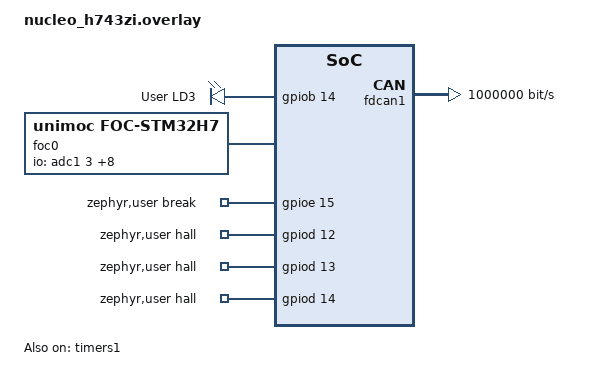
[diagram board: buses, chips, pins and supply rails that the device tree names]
/*
 * SPDX-License-Identifier: GPL-3.0-or-later
 *
 * UNIMOC on a NUCLEO-H743ZI (first revision, STM32H743ZI silicon rev. Y):
 * bring-up of the STM32H7 platform (hardware/zephyr_stm32h7) before the
 * 4850 logic board exists (docs/drive4850_h7_plan.md). Without a power
 * stage; every pin below is on the ST morpho or Zio connectors.
 * Not run on the board yet.
 *
 * Pins differ from the 4850 proposal where the Nucleo uses them: the
 * Ethernet PHY (PA1, PA2, PA7, PB13, PC1, PC4, PC5), the LEDs (LD1 PB0, LD2 PE1,
 * LD3 PB14) and the ST-LINK UART (PD8, PD9).
 */

/ {
	/* Status LEDs of hardware/status_leds.hpp on LD1 (green), LD2 (yellow) and LD3 (red). */
	aliases {
		unimoc-led-run = &green_led;
		unimoc-led-pwm = &yellow_led;
		unimoc-led-error = &red_led;
	};

	/* LD3 (PB14) is a plain GPIO output here; the board file wires it to TIM12 PWM. */
	red_leds {
		compatible = "gpio-leds";
		red_led: led_red {
			gpios = <&gpiob 14 GPIO_ACTIVE_HIGH>;
			label = "User LD3";
		};
	};

	pwmleds {
		status = "disabled";
	};

	/*
	 * Power stage: TIM1, centre-aligned PWM on CH1..CH3 + CH1N..CH3N
	 * (PE8..PE13, all on port E as on the 4850 proposal). TRGO2 (rising
	 * OC4REF / OC6REF) starts the injected sequences of ADC1..ADC3 at the
	 * same instant. The end of the ADC1 sequence is the sample interrupt
	 * (zero latency), the TIM1 update vector the observer interrupt.
	 */
	foc0: foc-power-stage {
		compatible = "unimoc,foc-stm32h7";
		status = "okay";

		timer = <&timers1>;

		/* 4850 power board (BSC040N08, LM5109B): 1 us as in the legacy firmware. */
		dead-time-ns = <1000>;

		pinctrl-0 = <&tim1_ch1_pe9 &tim1_ch1n_pe8
			     &tim1_ch2_pe11 &tim1_ch2n_pe10
			     &tim1_ch3_pe13 &tim1_ch3n_pe12
			     &tim1_bkin_pe15
			     &analog_pa6 &analog_pf11 &analog_pf12
			     &analog_pb1 &analog_pf13 &analog_pf14
			     &analog_pc2_c &analog_pc3_c &analog_pf10>;
		pinctrl-names = "default";

		/* Three injected conversions per ADC, the phase current first. */
		io-channels = <&adc1 3>, <&adc1 2>, <&adc1 6>,   /* PA6 ia, PF11 va, PF12 bridge temp */
			      <&adc2 5>, <&adc2 2>, <&adc2 6>,   /* PB1 ib, PF13 vb, PF14 motor temp  */
			      <&adc3 0>, <&adc3 1>, <&adc3 6>;   /* PC2_C ic, PC3_C vdc, PF10 vc      */
		io-channel-names = "ia", "va", "bridge-temperature",
				   "ib", "vb", "motor-temperature",
				   "ic", "vdc", "vc";

		/*
		 * ADC clock cycles at 30 MHz (pll2_p 120 MHz / 4). Currents from
		 * INA240 outputs (low impedance): short. Dividers and NTCs: longer.
		 * Rank 1 is the same on all three ADCs, so vdc (rank 1 of ADC3) is
		 * converted when the ADC1 sequence ends.
		 */
		sample-times = "2.5", "16.5", "32.5",
			       "2.5", "16.5", "32.5",
			       "2.5", "16.5", "32.5";
	};

	zephyr,user {
		/* External enable on the net PWM_BREAK: PE15 is also TIM1_BKIN. Jumper to 3V3 to release. */
		break-gpios = <&gpioe 15 GPIO_ACTIVE_HIGH>;
		/* Hall sensors A, B, C (one port). */
		hall-gpios = <&gpiod 12 GPIO_ACTIVE_HIGH>,
			     <&gpiod 13 GPIO_ACTIVE_HIGH>,
			     <&gpiod 14 GPIO_ACTIVE_HIGH>;
	};
};

/* Open input: break. */
&tim1_bkin_pe15 {
	bias-pull-down;
};

/* Used by the foc0 driver: enables the timer and its IRQ vectors. */
&timers1 {
	status = "okay";
};

/*
 * The foc0 driver programs ADC1..3 itself; the Zephyr ADC driver would claim
 * them. The nodes stay in the tree for the registers, clocks and IRQs.
 */
&adc1 {
	status = "disabled";
};

&adc2 {
	status = "disabled";
};

&adc3 {
	status = "disabled";
};

/* The Ethernet PHY sits on analog pins of the 4850 proposal; not used. */
&mac {
	status = "disabled";
};

/*
 * Silicon rev. Y: at most 400 MHz. 8 MHz (ST-LINK MCO) / 2 * 200 / 2 =
 * 400 MHz core, HCLK 200 MHz, APB 100 MHz, TIM1 200 MHz. PLL2 stays as on
 * the board: P 120 MHz for the ADCs, Q 80 MHz for FDCAN1.
 */
&pll {
	mul-n = <200>;
};

&rcc {
	clock-frequency = <DT_FREQ_M(400)>;
};

/*
 * CAN on PD0/PD1 (board default) to an external transceiver module. 1 Mbit/s
 * in both phases: classic CAN transceivers do not switch the data phase.
 */
&fdcan1 {
	bitrate = <1000000>;
	sample-point = <875>;
	bitrate-data = <1000000>;
	sample-point-data = <875>;
};

/*
 * Flash, 2 x 1 MB banks with 128 KB sectors: the image in bank 1, the DFU
 * slot and the settings in bank 2, so that a settings erase does not stall
 * the code.
 */
&flash0 {
	/delete-node/ partitions;

	partitions {
		compatible = "fixed-partitions";
		#address-cells = <1>;
		#size-cells = <1>;

		slot0_partition: partition@0 {
			label = "image-0";
			reg = <0x00000000 DT_SIZE_K(1024)>;
		};

		slot1_partition: partition@100000 {
			label = "image-1";
			reg = <0x00100000 DT_SIZE_K(768)>;
		};

		/* Settings: ZMS on two sectors. */
		storage_partition: partition@1c0000 {
			label = "storage";
			reg = <0x001c0000 DT_SIZE_K(256)>;
		};
	};
};

&timers12 {
	status = "disabled";
};
